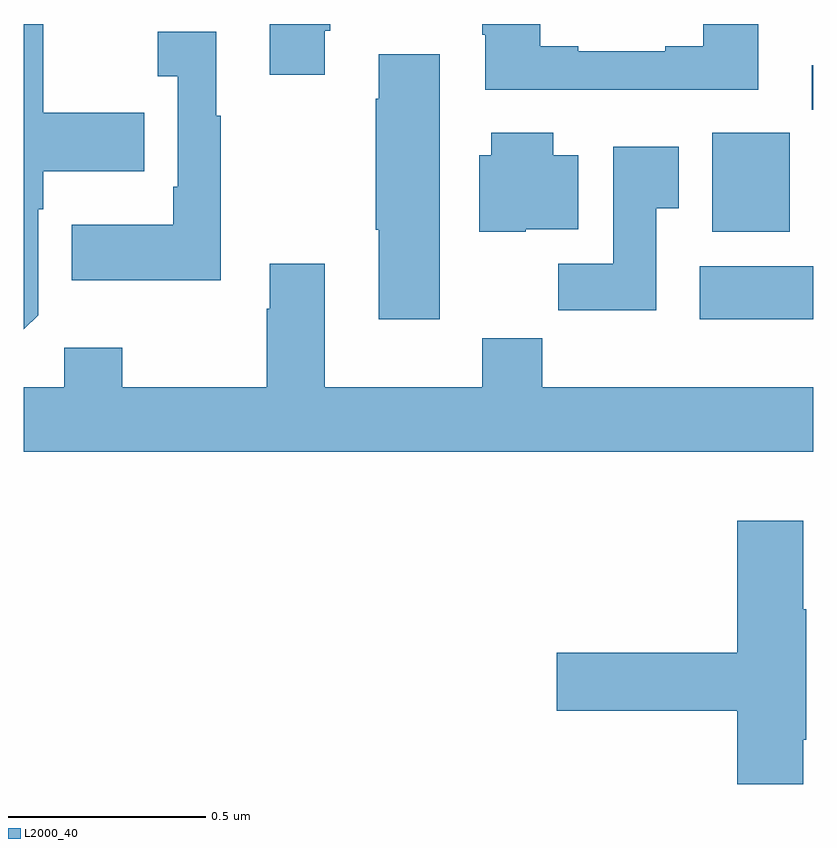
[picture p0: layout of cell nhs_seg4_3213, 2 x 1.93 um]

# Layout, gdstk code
import gdstk
lib = gdstk.Library(unit=1e-6, precision=1e-09)
def R(c, l, rs):  # rectangles x0, y0, x1, y1
    for r in rs: c.add(gdstk.rectangle(r[:2], r[2:], *l))
def P(c, l, *ps):  # polygons
    for p in ps: c.add(gdstk.Polygon(p, *l))
L2000_40 = (2000, 40)

nhs_seg4_3213 = lib.new_cell('nhs_seg4_3213')
R(nhs_seg4_3213, L2000_40, [(151.713,801.152,152,801.286), (151.745,801.374,151.941,801.625), (151.997,801.683,152,801.796)])
P(nhs_seg4_3213, L2000_40, [(150.763,801.883),(150.776,801.883),(150.776,801.9),(150.623,801.9),(150.623,801.771),(150.763,801.771)],
  [(150.036,801.162),(150.036,801.431),(150.049,801.431),(150.049,801.527),(150.305,801.527),(150.305,801.675),(150.049,801.675),(150.049,801.9),(150,801.9),(150,801.126)],
  [(151.861,801.9),(151.721,801.9),(151.721,801.844),(151.625,801.844),(151.625,801.831),(151.405,801.831),(151.405,801.844),(151.309,801.844),(151.309,801.9),(151.162,801.9),(151.162,801.873),(151.169,801.873),(151.169,801.734),(151.861,801.734)],
  [(150.499,801.667),(150.487,801.667),(150.487,801.88),(150.339,801.88),(150.339,801.767),(150.39,801.767),(150.39,801.487),(150.378,801.487),(150.378,801.391),(150.121,801.391),(150.121,801.251),(150.499,801.251)],
  [(151.054,801.823),(150.899,801.823),(150.899,801.71),(150.892,801.71),(150.892,801.379),(150.899,801.379),(150.899,801.152),(151.054,801.152)],
  [(151.272,801.38),(151.405,801.38),(151.405,801.568),(151.342,801.568),(151.342,801.625),(151.184,801.625),(151.184,801.568),(151.154,801.568),(151.154,801.374),(151.272,801.374)],
  [(151.603,801.433),(151.66,801.433),(151.66,801.589),(151.493,801.589),(151.493,801.292),(151.354,801.292),(151.354,801.174),(151.603,801.174)],
  [(152,800.98),(151.313,800.98),(151.313,801.104),(151.162,801.104),(151.162,800.98),(150.763,800.98),(150.763,801.292),(150.623,801.292),(150.623,801.179),(150.616,801.179),(150.616,800.98),(150.249,800.98),(150.249,801.079),(150.102,801.079),(150.102,800.98),(150,800.98),(150,800.816),(152,800.816)],
  [(151.975,800.086),(151.983,800.086),(151.983,800.417),(151.975,800.417),(151.975,800.641),(151.808,800.641),(151.808,800.306),(151.35,800.306),(151.35,800.159),(151.808,800.159),(151.808,799.974),(151.975,799.974)])

lib.write_gds('nhs_seg4_3213.gds')
